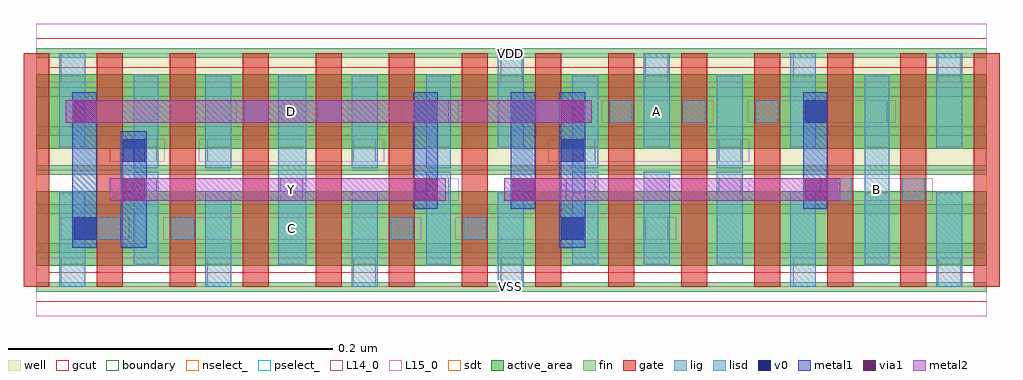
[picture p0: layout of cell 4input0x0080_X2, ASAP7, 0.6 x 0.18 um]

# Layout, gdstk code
import gdstk
lib = gdstk.Library(unit=1e-6, precision=1e-09)
def R(c, l, rs):  # rectangles x0, y0, x1, y1
    for r in rs: c.add(gdstk.rectangle(r[:2], r[2:], *l))
def A(c, l, x, y, w, h, nx, ny, dx, dy):  # array of equal rectangles
    R(c, l, [(x+i*dx, y+j*dy, x+i*dx+w, y+j*dy+h) for i in range(nx) for j in range(ny)])
def P(c, l, *ps):  # polygons
    for p in ps: c.add(gdstk.Polygon(p, *l))
well = (1, 0)
fin = (2, 0)
gate = (7, 0)
gcut = (10, 0)
active_area = (11, 0)
nselect_ = (12, 0)
pselect_ = (13, 0)
L14_0 = (14, 0)
L15_0 = (15, 0)
lig = (16, 0)
lisd = (17, 0)
v0 = (18, 0)
metal1 = (19, 0)
metal2 = (20, 0)
via1 = (21, 0)
sdt = (88, 0)
boundary = (100, 0)

c_4input0x0080_x2 = lib.new_cell('4input0x0080_X2')
R(c_4input0x0080_x2, well, [(0,0.072,0.585,0.144)])
A(c_4input0x0080_x2, fin, 0, -0.003, 0.585, 0.006, 1, 7, 0, 0.024)
A(c_4input0x0080_x2, gate, -0.008, 0, 0.016, 0.144, 14, 1, 0.045, 0)
P(c_4input0x0080_x2, gcut, [(0,-0.009),(0,0),(-0.008,0),(-0.008,0.135),(0.008,0.135),(0.008,0.009),(0.577,0.009),(0.577,0.135),(-0.008,0.135),(-0.008,0.144),(0,0.144),(0,0.153),(0.585,0.153),(0.585,0.144),(0.593,0.144),(0.593,0),(0.585,0),(0.585,-0.009)])
R(c_4input0x0080_x2, active_area, [(0,0.013,0.585,0.059), (0,0.085,0.585,0.131)])
R(c_4input0x0080_x2, nselect_, [(0,0,0.585,0.072)])
R(c_4input0x0080_x2, pselect_, [(0,0.072,0.585,0.144)])
A(c_4input0x0080_x2, L14_0, 0.06, 0.053, 0.014, 0.014, 5, 1, 0.09, 0)
A(c_4input0x0080_x2, L14_0, 0.06, 0.077, 0.014, 0.014, 3, 1, 0.135, 0)
A(c_4input0x0080_x2, L14_0, 0.308, 0.101, 0.014, 0.014, 4, 1, 0.045, 0)
R(c_4input0x0080_x2, L14_0, [(0.015,0,0.03,0.018), (0.105,0,0.12,0.018), (0.195,0,0.209,0.018), (0.286,0,0.299,0.018), (0.466,0,0.48,0.018), (0.555,0,0.569,0.018), (0.038,0.029,0.052,0.043), (0.083,0.029,0.097,0.043), (0.218,0.029,0.232,0.043), (0.263,0.029,0.277,0.043), (0.375,0.029,0.389,0.043), (0.488,0.053,0.502,0.067), (0.533,0.053,0.547,0.067), (0.105,0.077,0.12,0.091), (0.42,0.077,0.434,0.091), (0.128,0.101,0.142,0.115), (0.173,0.101,0.187,0.115), (0.24,0.101,0.254,0.115), (0.51,0.101,0.524,0.115), (0.015,0.126,0.03,0.144), (0.286,0.126,0.299,0.144), (0.375,0.126,0.389,0.144), (0.466,0.126,0.48,0.144), (0.555,0.126,0.569,0.144)])
R(c_4input0x0080_x2, L15_0, [(0,-0.018,0.585,0.018), (0.015,0.029,0.057,0.043), (0.078,0.029,0.237,0.043), (0.258,0.029,0.394,0.043), (0.055,0.053,0.26,0.067), (0.326,0.053,0.439,0.067), (0.483,0.053,0.552,0.067), (0.045,0.077,0.079,0.091), (0.1,0.077,0.214,0.091), (0.315,0.077,0.439,0.091), (0.123,0.101,0.192,0.115), (0.225,0.101,0.26,0.115), (0.285,0.101,0.327,0.115), (0.348,0.101,0.417,0.115), (0.438,0.101,0.529,0.115), (0,0.126,0.585,0.162)])
A(c_4input0x0080_x2, lig, 0.308, 0.101, 0.014, 0.014, 4, 1, 0.045, 0)
R(c_4input0x0080_x2, lig, [(0.038,0.029,0.052,0.043), (0.083,0.029,0.097,0.043), (0.218,0.029,0.232,0.043), (0.263,0.029,0.277,0.043), (0.488,0.053,0.502,0.067), (0.533,0.053,0.547,0.067), (0.128,0.101,0.142,0.115), (0.173,0.101,0.187,0.115)])
A(c_4input0x0080_x2, lisd, 0.014, 0, 0.016, 0.059, 4, 1, 0.09, 0)
A(c_4input0x0080_x2, lisd, 0.284, 0.085, 0.016, 0.059, 4, 1, 0.09, 0)
R(c_4input0x0080_x2, lisd, [(0.464,0,0.48,0.059), (0.554,0,0.57,0.059), (0.06,0.013,0.075,0.071), (0.149,0.013,0.166,0.131), (0.24,0.013,0.255,0.071), (0.33,0.013,0.346,0.071), (0.374,0.013,0.39,0.071), (0.419,0.013,0.435,0.071), (0.51,0.013,0.525,0.131), (0.06,0.073,0.075,0.131), (0.104,0.073,0.12,0.131), (0.194,0.073,0.21,0.131), (0.24,0.073,0.255,0.131), (0.33,0.073,0.346,0.131), (0.419,0.073,0.435,0.131), (0.014,0.085,0.03,0.144)])
R(c_4input0x0080_x2, v0, [(0.023,0.029,0.037,0.043), (0.323,0.029,0.337,0.043), (0.053,0.077,0.067,0.091), (0.323,0.077,0.337,0.091), (0.233,0.101,0.247,0.115), (0.293,0.101,0.307,0.115), (0.473,0.101,0.487,0.115)])
R(c_4input0x0080_x2, metal1, [(0.022,0.024,0.037,0.12), (0.052,0.024,0.068,0.096), (0.322,0.024,0.338,0.12), (0.232,0.048,0.247,0.12), (0.292,0.048,0.307,0.12), (0.472,0.048,0.487,0.12)])
R(c_4input0x0080_x2, metal2, [(0.045,0.053,0.252,0.067), (0.288,0.053,0.495,0.067), (0.018,0.101,0.342,0.115)])
R(c_4input0x0080_x2, via1, [(0.053,0.053,0.067,0.067), (0.233,0.053,0.247,0.067), (0.293,0.053,0.307,0.067), (0.473,0.053,0.487,0.067), (0.023,0.101,0.037,0.115), (0.323,0.101,0.337,0.115)])
A(c_4input0x0080_x2, sdt, 0.014, 0.014, 0.016, 0.044, 4, 2, 0.09, 0.072)
A(c_4input0x0080_x2, sdt, 0.374, 0.014, 0.016, 0.044, 3, 2, 0.045, 0.072)
R(c_4input0x0080_x2, sdt, [(0.06,0.014,0.075,0.058), (0.149,0.014,0.166,0.058), (0.24,0.014,0.255,0.058), (0.33,0.014,0.346,0.058), (0.51,0.014,0.525,0.058), (0.554,0.014,0.57,0.058), (0.06,0.086,0.075,0.13), (0.149,0.086,0.166,0.13), (0.24,0.086,0.255,0.13), (0.33,0.086,0.346,0.13), (0.51,0.086,0.525,0.13), (0.554,0.086,0.57,0.13)])
R(c_4input0x0080_x2, boundary, [(0,0,0.585,0.144)])
c_4input0x0080_x2.add(gdstk.Label('D', (0.157,0.108), layer=15, texttype=251))
c_4input0x0080_x2.add(gdstk.Label('VSS', (0.292,0), layer=15, texttype=251))
c_4input0x0080_x2.add(gdstk.Label('VDD', (0.292,0.144), layer=15, texttype=251))
c_4input0x0080_x2.add(gdstk.Label('C', (0.157,0.036), layer=15, texttype=251))
c_4input0x0080_x2.add(gdstk.Label('VSS', (0.292,0), layer=15, texttype=251))
c_4input0x0080_x2.add(gdstk.Label('VDD', (0.292,0.144), layer=15, texttype=251))
c_4input0x0080_x2.add(gdstk.Label('Y', (0.157,0.06), layer=15, texttype=251))
c_4input0x0080_x2.add(gdstk.Label('VSS', (0.292,0), layer=15, texttype=251))
c_4input0x0080_x2.add(gdstk.Label('VDD', (0.292,0.144), layer=15, texttype=251))
c_4input0x0080_x2.add(gdstk.Label('B', (0.517,0.06), layer=15, texttype=251))
c_4input0x0080_x2.add(gdstk.Label('VSS', (0.292,0), layer=15, texttype=251))
c_4input0x0080_x2.add(gdstk.Label('VDD', (0.292,0.144), layer=15, texttype=251))
c_4input0x0080_x2.add(gdstk.Label('A', (0.382,0.108), layer=15, texttype=251))
c_4input0x0080_x2.add(gdstk.Label('VSS', (0.292,0), layer=15, texttype=251))
c_4input0x0080_x2.add(gdstk.Label('VDD', (0.292,0.144), layer=15, texttype=251))
c_4input0x0080_x2.add(gdstk.Label('VSS', (0.292,0), layer=3, texttype=251))
c_4input0x0080_x2.add(gdstk.Label('VSS', (0.292,0), layer=3, texttype=251))
c_4input0x0080_x2.add(gdstk.Label('VSS', (0.292,0), layer=3, texttype=251))
c_4input0x0080_x2.add(gdstk.Label('VSS', (0.292,0), layer=3, texttype=251))
c_4input0x0080_x2.add(gdstk.Label('VSS', (0.292,0), layer=3, texttype=251))
c_4input0x0080_x2.add(gdstk.Label('VDD', (0.292,0.144), layer=1, texttype=251))
c_4input0x0080_x2.add(gdstk.Label('VDD', (0.292,0.144), layer=1, texttype=251))
c_4input0x0080_x2.add(gdstk.Label('VDD', (0.292,0.144), layer=1, texttype=251))
c_4input0x0080_x2.add(gdstk.Label('VDD', (0.292,0.144), layer=1, texttype=251))
c_4input0x0080_x2.add(gdstk.Label('VDD', (0.292,0.144), layer=1, texttype=251))

lib.write_gds('4input0x0080_X2.gds')
